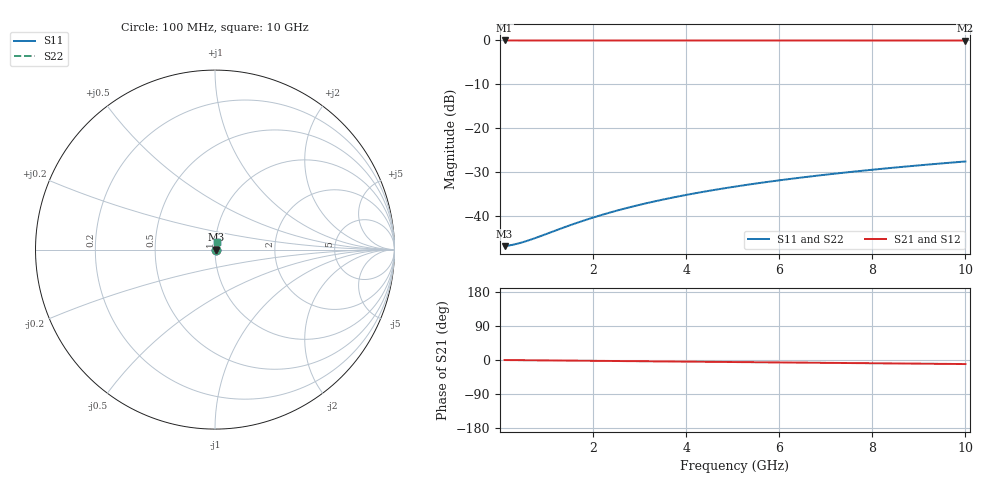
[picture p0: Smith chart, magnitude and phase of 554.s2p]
# Hz S RI R 50.00
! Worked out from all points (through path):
!   100 points, 100 MHz to 10 GHz, reference 50 ohm
!   highest |S21| = -0.04 dB at 100 MHz (marker M1); lowest = -0.1 dB at 10 GHz (marker M2)
!   group delay of S21, straight-line fit = 2.98 ps
!   lowest |S11| = -46.9 dB at 100 MHz (marker M3), VSWR 1.01, Z = 50.5 + j0.0412 ohm
!   |S11| at or under -10 dB: start of sweep to end of sweep
!   |S22| runs from -46.9 to -27.6 dB; largest |S21 - S12| = 0
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1e8  0.0045 0.000408  0.9955 -0.00186  0.9955 -0.00186  0.0045 0.000408
2e8  0.00453 0.000817  0.9955 -0.00372  0.9955 -0.00372  0.00453 0.000817
3e8  0.00456 0.00122  0.9954 -0.00558  0.9954 -0.00558  0.00456 0.00122
4e8  0.00458 0.00163  0.9954 -0.00744  0.9954 -0.00744  0.00458 0.00163
6e8  0.00463 0.00245  0.9953 -0.0112  0.9953 -0.0112  0.00463 0.00245
8e8  0.00467 0.00326  0.9953 -0.0149  0.9953 -0.0149  0.00467 0.00326
1.4e9  0.00482 0.00571  0.995 -0.026  0.995 -0.026  0.00482 0.00571
1.8e9  0.00494 0.00734  0.9947 -0.0335  0.9947 -0.0335  0.00494 0.00734
2.2e9  0.00509 0.00896  0.9944 -0.0409  0.9944 -0.0409  0.00509 0.00896
2.6e9  0.00525 0.0106  0.994 -0.0484  0.994 -0.0484  0.00525 0.0106
3e9  0.00544 0.0122  0.9936 -0.0558  0.9936 -0.0558  0.00544 0.0122
3.4e9  0.00566 0.0138  0.9931 -0.0632  0.9931 -0.0632  0.00566 0.0138
3.8e9  0.00589 0.0154  0.9925 -0.0706  0.9925 -0.0706  0.00589 0.0154
4.2e9  0.00615 0.0171  0.9919 -0.078  0.9919 -0.078  0.00615 0.0171
4.6e9  0.00644 0.0187  0.9913 -0.0855  0.9913 -0.0855  0.00644 0.0187
5.1e9  0.00682 0.0207  0.9904 -0.0947  0.9904 -0.0947  0.00682 0.0207
5.9e9  0.00752 0.0238  0.9887 -0.1095  0.9887 -0.1095  0.00752 0.0238
6.7e9  0.00831 0.027  0.9868 -0.1243  0.9868 -0.1243  0.00831 0.027
7.5e9  0.0092 0.0301  0.9847 -0.139  0.9847 -0.139  0.0092 0.0301
8.4e9  0.0103 0.0336  0.9821 -0.1555  0.9821 -0.1555  0.0103 0.0336
9.2e9  0.0114 0.0367  0.9795 -0.1702  0.9795 -0.1702  0.0114 0.0367
1e10  0.0126 0.0397  0.9767 -0.1848  0.9767 -0.1848  0.0126 0.0397
